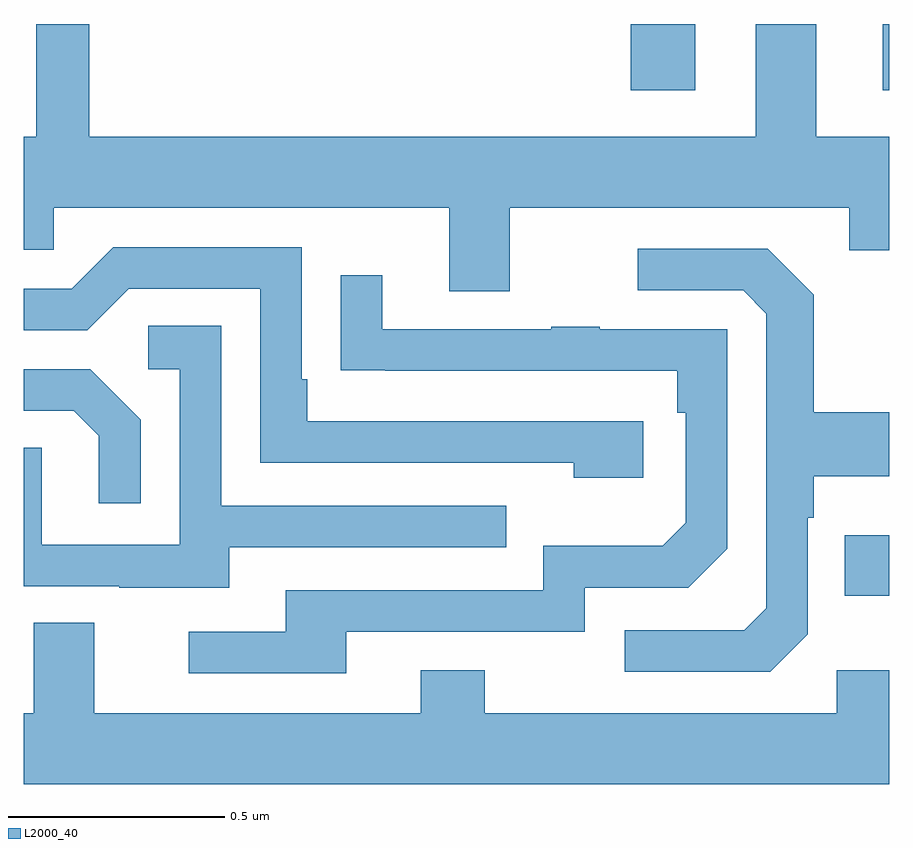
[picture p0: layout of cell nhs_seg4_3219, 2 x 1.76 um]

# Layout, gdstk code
import gdstk
lib = gdstk.Library(unit=1e-6, precision=1e-09)
def R(c, l, rs):  # rectangles x0, y0, x1, y1
    for r in rs: c.add(gdstk.rectangle(r[:2], r[2:], *l))
def P(c, l, *ps):  # polygons
    for p in ps: c.add(gdstk.Polygon(p, *l))
L2000_40 = (2000, 40)

nhs_seg4_3219 = lib.new_cell('nhs_seg4_3219')
R(nhs_seg4_3219, L2000_40, [(151.897,806.579,152,806.719), (151.403,807.747,151.552,807.9), (151.985,807.747,152,807.9)])
P(nhs_seg4_3219, L2000_40, [(151.123,807.476),(151.907,807.476),(151.907,807.377),(152,807.377),(152,807.64),(151.831,807.64),(151.831,807.9),(151.691,807.9),(151.691,807.64),(150.151,807.64),(150.151,807.9),(150.029,807.9),(150.029,807.64),(150,807.64),(150,807.378),(150.069,807.378),(150.069,807.476),(150.983,807.476),(150.983,807.282),(151.123,807.282)],
  [(151.432,806.982),(150.655,806.982),(150.655,807.079),(150.642,807.079),(150.642,807.384),(150.207,807.384),(150.111,807.288),(150,807.288),(150,807.192),(150.147,807.192),(150.243,807.288),(150.546,807.288),(150.546,806.886),(151.271,806.886),(151.271,806.852),(151.432,806.852)],
  [(151.812,806.49),(151.812,806.759),(151.825,806.759),(151.825,806.855),(152,806.855),(152,807.003),(151.825,807.003),(151.825,807.275),(151.719,807.381),(151.419,807.381),(151.419,807.285),(151.662,807.285),(151.716,807.231),(151.716,806.55),(151.665,806.499),(151.389,806.499),(151.389,806.403),(151.725,806.403)],
  [(150.745,806.496),(151.296,806.496),(151.296,806.598),(151.536,806.598),(151.626,806.688),(151.626,807.195),(151.331,807.195),(151.331,807.2),(151.219,807.2),(151.219,807.195),(150.829,807.195),(150.829,807.319),(150.733,807.319),(150.733,807.1),(150.835,807.1),(150.835,807.099),(151.51,807.099),(151.51,807.002),(151.53,807.002),(151.53,806.748),(151.477,806.695),(151.2,806.695),(151.2,806.592),(150.605,806.592),(150.605,806.496),(150.381,806.496),(150.381,806.4),(150.745,806.4)],
  [(150.475,806.691),(151.115,806.691),(151.115,806.787),(150.456,806.787),(150.456,807.203),(150.288,807.203),(150.288,807.102),(150.36,807.102),(150.36,806.697),(150.042,806.697),(150.042,806.921),(150,806.921),(150,806.601),(150.221,806.601),(150.221,806.597),(150.475,806.597)],
  [(150.27,806.986),(150.154,807.102),(150,807.102),(150,807.006),(150.116,807.006),(150.173,806.949),(150.173,806.793),(150.27,806.793)],
  [(152,806.407),(151.878,806.407),(151.878,806.308),(151.065,806.308),(151.065,806.407),(150.917,806.407),(150.917,806.308),(150.163,806.308),(150.163,806.516),(150.023,806.516),(150.023,806.308),(150,806.308),(150,806.144),(152,806.144)])

lib.write_gds('nhs_seg4_3219.gds')
